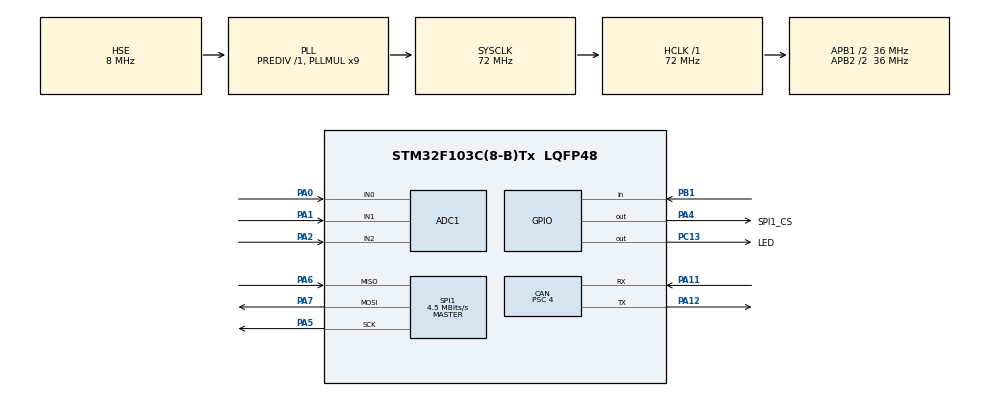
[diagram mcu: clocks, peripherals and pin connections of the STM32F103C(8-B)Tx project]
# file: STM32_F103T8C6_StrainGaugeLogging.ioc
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ADC1.Channel-0\#ChannelRegularConversion=ADC_CHANNEL_0
ADC1.ContinuousConvMode=ENABLE
ADC1.NbrOfConversionFlag=1
ADC1.Rank-0\#ChannelRegularConversion=1
ADC1.SamplingTime-0\#ChannelRegularConversion=ADC_SAMPLETIME_1CYCLE_5
ADC1.master=1
CAN.BS1=CAN_BS1_13TQ
CAN.BS2=CAN_BS2_4TQ
CAN.CalculateBaudRate=500000
CAN.CalculateTimeBit=2000
CAN.CalculateTimeQuantum=111.11111111111111
CAN.Prescaler=4
FATFS._MAX_SS=4096
FATFS._USE_LFN=1
Mcu.Family=STM32F1
Mcu.Name=STM32F103C(8-B)Tx
Mcu.Package=LQFP48
NVIC.PriorityGroup=NVIC_PRIORITYGROUP_4
NVIC.USB_LP_CAN1_RX0_IRQn=true\:0\:0\:false\:false\:true\:true\:true\:true
PA0-WKUP.Signal=ADCx_IN0
PA1.Signal=ADCx_IN1
PA11.Mode=CAN_Activate
PA11.Signal=CAN_RX
PA12.Mode=CAN_Activate
PA12.Signal=CAN_TX
PA13.Mode=Serial_Wire
PA13.Signal=SYS_JTMS-SWDIO
PA14.Mode=Serial_Wire
PA14.Signal=SYS_JTCK-SWCLK
PA2.Signal=ADCx_IN2
PA4.GPIO_Label=SPI1_CS
PA4.Signal=GPIO_Output
PA5.Mode=Full_Duplex_Master
PA5.Signal=SPI1_SCK
PA6.Mode=Full_Duplex_Master
PA6.Signal=SPI1_MISO
PA7.Mode=Full_Duplex_Master
PA7.Signal=SPI1_MOSI
PB1.Signal=GPIO_Input
PC13-TAMPER-RTC.GPIO_Label=LED
PC13-TAMPER-RTC.PinState=GPIO_PIN_SET
PC13-TAMPER-RTC.Signal=GPIO_Output
PD0-OSC_IN.Mode=HSE-External-Oscillator
PD0-OSC_IN.Signal=RCC_OSC_IN
PD1-OSC_OUT.Mode=HSE-External-Oscillator
PD1-OSC_OUT.Signal=RCC_OSC_OUT
ProjectManager.HeapSize=0x200
ProjectManager.StackSize=0x400
ProjectManager.TargetToolchain=STM32CubeIDE
RCC.ADCPresc=RCC_ADCPCLK2_DIV6
RCC.AHBFreq_Value=72000000
RCC.APB1CLKDivider=RCC_HCLK_DIV2
RCC.APB1Freq_Value=36000000
RCC.APB1TimFreq_Value=72000000
RCC.APB2CLKDivider=RCC_HCLK_DIV2
RCC.APB2Freq_Value=36000000
RCC.APB2TimFreq_Value=72000000
RCC.HCLKFreq_Value=72000000
RCC.PLLMUL=RCC_PLL_MUL9
RCC.PLLSourceVirtual=RCC_PLLSOURCE_HSE
RCC.SYSCLKFreq_VALUE=72000000
RCC.SYSCLKSource=RCC_SYSCLKSOURCE_PLLCLK
RCC.USBFreq_Value=72000000
SH.ADCx_IN0.0=ADC1_IN0,IN0
SH.ADCx_IN1.0=ADC1_IN1,IN1
SH.ADCx_IN2.0=ADC1_IN2,IN2
SPI1.BaudRatePrescaler=SPI_BAUDRATEPRESCALER_8
SPI1.CalculateBaudRate=4.5 MBits/s
SPI1.Direction=SPI_DIRECTION_2LINES
SPI1.Mode=SPI_MODE_MASTER
SPI1.VirtualType=VM_MASTER
VP_FATFS_VS_Generic.Mode=User_defined
board=custom

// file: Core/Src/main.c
/* USER CODE BEGIN Header */
/**
  ******************************************************************************
  * @file           : main.c
  * @brief          : Main program body
  ******************************************************************************
  * @attention
  *
  * Copyright (c) 2024 STMicroelectronics.
  * All rights reserved.
  *
  * This software is licensed under terms that can be found in the LICENSE file
  * in the root directory of this software component.
  * If no LICENSE file comes with this software, it is provided AS-IS.
  *
  ******************************************************************************
  */
/* USER CODE END Header */
#include "main.h"
#include "fatfs.h"

/* USER CODE BEGIN PD */
//FATFS
FATFS fs;
FIL fil;
UINT bw;

// Button Input
#define BUTTON_GPIO_PORT GPIOB
#define BUTTON_PIN GPIO_PIN_1

#define LED_GPIO_Port GPIOC
#define LED_Pin GPIO_PIN_13

/* USER CODE END PD */

ADC_HandleTypeDef hadc1;

CAN_HandleTypeDef hcan;

SPI_HandleTypeDef hspi1;

void SystemClock_Config(void);
static void MX_GPIO_Init(void);
static void MX_CAN_Init(void);
static void MX_SPI1_Init(void);
static void MX_ADC1_Init(void);

/* USER CODE BEGIN 0 */

CAN_TxHeaderTypeDef TxHeader;
CAN_RxHeaderTypeDef RxHeader;

uint8_t TxData0[8]; // Frame 1: Sensor1 [0-1] Sensor2 [2-3] Sensor 3[4-5] Padding[6-7]
uint32_t TxMailbox;
//CAN
uint8_t SID = 0x123;
//Analog Data Log
float data0;
float data1;
float data2;

//TimeTracking
uint32_t start_time;
uint32_t elapsed_time;

void Write_To_SD(uint32_t time, float data0, float data1, float data2) {
	  char buffer[128];
	  f_mount(&fs, "", 0);
	  f_open(&fil, "DataLog.txt", FA_OPEN_ALWAYS | FA_WRITE | FA_READ);
	  f_lseek(&fil, fil.fsize);
	  //sprintf(buffer, "time(ms): [%lu], sensor 1(V): [%.2f], sensor 2(V): [%.2f], sensor 3(V): [%.2f]\n", time, data0, data1, data2);
	  sprintf(buffer, "123,%.2f,%.2f,%.2f,%lu\n", data0, data1, data2, time);
	  f_puts(buffer, &fil);
	  f_close(&fil);
	  HAL_Delay(10);
}

float Read_Sensor0(void){
	ADC_ChannelConfTypeDef sConfig = {0};

	sConfig.Channel = ADC_CHANNEL_0;
	sConfig.Rank = ADC_REGULAR_RANK_1;
	HAL_ADC_ConfigChannel(&hadc1, &sConfig);
	HAL_ADC_Start(&hadc1);
	HAL_ADC_PollForConversion(&hadc1, HAL_MAX_DELAY);

	uint32_t value = HAL_ADC_GetValue(&hadc1);
	return (value * 5.0f) / 4095.0f;
}

float Read_Sensor1(void){
	ADC_ChannelConfTypeDef sConfig = {0};

	sConfig.Channel = ADC_CHANNEL_1;
	sConfig.Rank = ADC_REGULAR_RANK_1;
	HAL_ADC_ConfigChannel(&hadc1, &sConfig);
	HAL_ADC_Start(&hadc1);
	HAL_ADC_PollForConversion(&hadc1, HAL_MAX_DELAY);

	uint32_t value = HAL_ADC_GetValue(&hadc1);
	return (value * 5.0f) / 4095.0f;
}
float Read_Sensor2(void){
	ADC_ChannelConfTypeDef sConfig = {0};

	sConfig.Channel = ADC_CHANNEL_2;
	sConfig.Rank = ADC_REGULAR_RANK_1;
	HAL_ADC_ConfigChannel(&hadc1, &sConfig);
	HAL_ADC_Start(&hadc1);
	HAL_ADC_PollForConversion(&hadc1, HAL_MAX_DELAY);

	uint32_t value = HAL_ADC_GetValue(&hadc1);
	return (value * 5.0f) / 4095.0f;
}
 void Transmit_Data(uint32_t elapsed_time, float data0, float data1, float data2){

	 // Scaling data values to integer to 2 decimal places
	 int16_t data_0 = (int16_t)(data0 * 100);
	 int16_t data_1 = (int16_t)(data1 * 100);
	 int16_t data_2 = (int16_t)(data2 * 100);

	 //TxData0[] First Frame
	 memcpy(&TxData0[0], &data_0, 2);   // Bytes 0-1: Time low
	 memcpy(&TxData0[2], &data_1, 2);   // Bytes 2-3: Time high
	 memcpy(&TxData0[4], &data_2, 2);   // Bytes 4-5: Sensor 1
	 TxData0[6] = 0;                  	// Padding
	 TxData0[7] = 0;					// Padding

	 //Sending First Frame ID: 0x123
	 TxHeader.StdId = 0x123;
	 if(HAL_CAN_AddTxMessage(&hcan, &TxHeader, TxData0, &TxMailbox) != HAL_OK){
		 printf("Can Transmission Failed (frame 1, SID: 0x123\n)");
	 }

	 HAL_Delay(10);
 }
/* USER CODE END 0 */

int main(void)
{

  /* MCU Configuration--------------------------------------------------------*/

  /* Reset of all peripherals, Initializes the Flash interface and the Systick. */
  HAL_Init();

  /* Configure the system clock */
  SystemClock_Config();

  /* Initialize all configured peripherals */
  MX_GPIO_Init();
  MX_CAN_Init();
  MX_SPI1_Init();
  MX_FATFS_Init();
  MX_ADC1_Init();
  /* USER CODE BEGIN 2 */

  // Start CAN
  HAL_CAN_Start(&hcan);

  // Activate the notification
  HAL_CAN_ActivateNotification(&hcan, CAN_IT_RX_FIFO0_MSG_PENDING);

  TxHeader.DLC = 8; // This is set to 2 for testing purpose
  TxHeader.IDE = CAN_ID_STD;
  TxHeader.RTR = CAN_RTR_DATA;

  // Mark the starting time
  start_time = HAL_GetTick();

  /* USER CODE END 2 */

  /* Infinite loop */
  while (1)
  {
	  elapsed_time = HAL_GetTick() - start_time;
	  data0 = Read_Sensor0();
	  data1 = Read_Sensor1();
	  data2 = Read_Sensor2();
	  Write_To_SD(elapsed_time, data0, data1, data2);
	  Transmit_Data(elapsed_time, data0, data1, data2);
  }
}

void SystemClock_Config(void)
{
  RCC_OscInitTypeDef RCC_OscInitStruct = {0};
  RCC_ClkInitTypeDef RCC_ClkInitStruct = {0};
  RCC_PeriphCLKInitTypeDef PeriphClkInit = {0};

  /** Initializes the RCC Oscillators according to the specified parameters
  * in the RCC_OscInitTypeDef structure.
  */
  RCC_OscInitStruct.OscillatorType = RCC_OSCILLATORTYPE_HSE;
  RCC_OscInitStruct.HSEState = RCC_HSE_ON;
  RCC_OscInitStruct.HSEPredivValue = RCC_HSE_PREDIV_DIV1;
  RCC_OscInitStruct.HSIState = RCC_HSI_ON;
  RCC_OscInitStruct.PLL.PLLState = RCC_PLL_ON;
  RCC_OscInitStruct.PLL.PLLSource = RCC_PLLSOURCE_HSE;
  RCC_OscInitStruct.PLL.PLLMUL = RCC_PLL_MUL9;
  if (HAL_RCC_OscConfig(&RCC_OscInitStruct) != HAL_OK)
  {
    Error_Handler();
  }

  /** Initializes the CPU, AHB and APB buses clocks
  */
  RCC_ClkInitStruct.ClockType = RCC_CLOCKTYPE_HCLK|RCC_CLOCKTYPE_SYSCLK
                              |RCC_CLOCKTYPE_PCLK1|RCC_CLOCKTYPE_PCLK2;
  RCC_ClkInitStruct.SYSCLKSource = RCC_SYSCLKSOURCE_PLLCLK;
  RCC_ClkInitStruct.AHBCLKDivider = RCC_SYSCLK_DIV1;
  RCC_ClkInitStruct.APB1CLKDivider = RCC_HCLK_DIV2;
  RCC_ClkInitStruct.APB2CLKDivider = RCC_HCLK_DIV2;

  if (HAL_RCC_ClockConfig(&RCC_ClkInitStruct, FLASH_LATENCY_2) != HAL_OK)
  {
    Error_Handler();
  }
  PeriphClkInit.PeriphClockSelection = RCC_PERIPHCLK_ADC;
  PeriphClkInit.AdcClockSelection = RCC_ADCPCLK2_DIV6;
  if (HAL_RCCEx_PeriphCLKConfig(&PeriphClkInit) != HAL_OK)
  {
    Error_Handler();
  }
}

static void MX_ADC1_Init(void)
{

  ADC_ChannelConfTypeDef sConfig = {0};

  /** Common config
  */
  hadc1.Instance = ADC1;
  hadc1.Init.ScanConvMode = ADC_SCAN_DISABLE;
  hadc1.Init.ContinuousConvMode = ENABLE;
  hadc1.Init.DiscontinuousConvMode = DISABLE;
  hadc1.Init.ExternalTrigConv = ADC_SOFTWARE_START;
  hadc1.Init.DataAlign = ADC_DATAALIGN_RIGHT;
  hadc1.Init.NbrOfConversion = 1;
  if (HAL_ADC_Init(&hadc1) != HAL_OK)
  {
    Error_Handler();
  }

  /** Configure Regular Channel
  */
  sConfig.Channel = ADC_CHANNEL_0;
  sConfig.Rank = ADC_REGULAR_RANK_1;
  sConfig.SamplingTime = ADC_SAMPLETIME_1CYCLE_5;
  if (HAL_ADC_ConfigChannel(&hadc1, &sConfig) != HAL_OK)
  {
    Error_Handler();
  }

}

static void MX_CAN_Init(void)
{

  hcan.Instance = CAN1;
  hcan.Init.Prescaler = 4;
  hcan.Init.Mode = CAN_MODE_NORMAL;
  hcan.Init.SyncJumpWidth = CAN_SJW_1TQ;
  hcan.Init.TimeSeg1 = CAN_BS1_13TQ;
  hcan.Init.TimeSeg2 = CAN_BS2_4TQ;
  hcan.Init.TimeTriggeredMode = DISABLE;
  hcan.Init.AutoBusOff = DISABLE;
  hcan.Init.AutoWakeUp = DISABLE;
  hcan.Init.AutoRetransmission = DISABLE;
  hcan.Init.ReceiveFifoLocked = DISABLE;
  hcan.Init.TransmitFifoPriority = DISABLE;
  if (HAL_CAN_Init(&hcan) != HAL_OK)
  {
    Error_Handler();
  }
  /* USER CODE BEGIN CAN_Init 2 */

  //CAN Filter
  CAN_FilterTypeDef canfilterconfig;

  canfilterconfig.FilterActivation = CAN_FILTER_ENABLE;
  canfilterconfig.FilterBank = 10;
  canfilterconfig.FilterFIFOAssignment = CAN_FILTER_FIFO0;
  canfilterconfig.FilterIdHigh = 0x103<<5;
  canfilterconfig.FilterIdLow = 0;
  canfilterconfig.FilterMaskIdHigh = 0x103<<5;
  canfilterconfig.FilterMaskIdLow = 0x0000;
  canfilterconfig.FilterMode = CAN_FILTERMODE_IDMASK;
  canfilterconfig.FilterScale = CAN_FILTERSCALE_32BIT;
  canfilterconfig.SlaveStartFilterBank = 0;

  HAL_CAN_ConfigFilter(&hcan, &canfilterconfig);
  /* USER CODE END CAN_Init 2 */

}

static void MX_SPI1_Init(void)
{

  /* SPI1 parameter configuration*/
  hspi1.Instance = SPI1;
  hspi1.Init.Mode = SPI_MODE_MASTER;
  hspi1.Init.Direction = SPI_DIRECTION_2LINES;
  hspi1.Init.DataSize = SPI_DATASIZE_8BIT;
  hspi1.Init.CLKPolarity = SPI_POLARITY_LOW;
  hspi1.Init.CLKPhase = SPI_PHASE_1EDGE;
  hspi1.Init.NSS = SPI_NSS_SOFT;
  hspi1.Init.BaudRatePrescaler = SPI_BAUDRATEPRESCALER_8;
  hspi1.Init.FirstBit = SPI_FIRSTBIT_MSB;
  hspi1.Init.TIMode = SPI_TIMODE_DISABLE;
  hspi1.Init.CRCCalculation = SPI_CRCCALCULATION_DISABLE;
  hspi1.Init.CRCPolynomial = 10;
  if (HAL_SPI_Init(&hspi1) != HAL_OK)
  {
    Error_Handler();
  }

}

static void MX_GPIO_Init(void)
{
  GPIO_InitTypeDef GPIO_InitStruct = {0};

  /* GPIO Ports Clock Enable */
  __HAL_RCC_GPIOC_CLK_ENABLE();
  __HAL_RCC_GPIOD_CLK_ENABLE();
  __HAL_RCC_GPIOA_CLK_ENABLE();
  __HAL_RCC_GPIOB_CLK_ENABLE();

  /*Configure GPIO pin Output Level */
  HAL_GPIO_WritePin(LED_GPIO_Port, LED_Pin, GPIO_PIN_SET);

  /*Configure GPIO pin Output Level */
  HAL_GPIO_WritePin(SPI1_CS_GPIO_Port, SPI1_CS_Pin, GPIO_PIN_RESET);

  /*Configure GPIO pin : LED_Pin */
  GPIO_InitStruct.Pin = LED_Pin;
  GPIO_InitStruct.Mode = GPIO_MODE_OUTPUT_PP;
  GPIO_InitStruct.Pull = GPIO_NOPULL;
  GPIO_InitStruct.Speed = GPIO_SPEED_FREQ_LOW;
  HAL_GPIO_Init(LED_GPIO_Port, &GPIO_InitStruct);

  /*Configure GPIO pin : SPI1_CS_Pin */
  GPIO_InitStruct.Pin = SPI1_CS_Pin;
  GPIO_InitStruct.Mode = GPIO_MODE_OUTPUT_PP;
  GPIO_InitStruct.Pull = GPIO_NOPULL;
  GPIO_InitStruct.Speed = GPIO_SPEED_FREQ_LOW;
  HAL_GPIO_Init(SPI1_CS_GPIO_Port, &GPIO_InitStruct);

  /*Configure GPIO pin : PB1 */
  GPIO_InitStruct.Pin = GPIO_PIN_1;
  GPIO_InitStruct.Mode = GPIO_MODE_INPUT;
  GPIO_InitStruct.Pull = GPIO_NOPULL;
  HAL_GPIO_Init(GPIOB, &GPIO_InitStruct);

}

void Error_Handler(void)
{
  __disable_irq();
  while (1)
  {
  }
}
